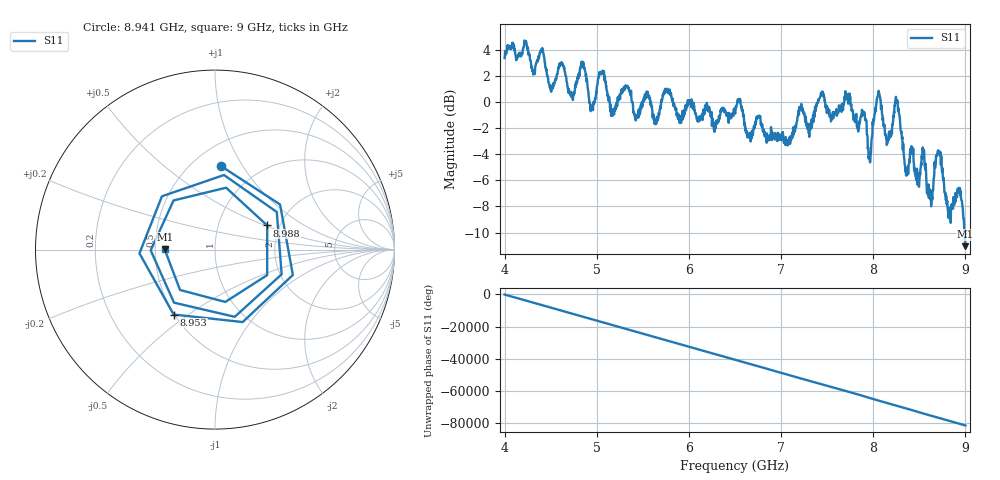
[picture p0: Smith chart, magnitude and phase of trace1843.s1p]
! Created with skrf 1.8.0 (http://scikit-rf.org).
# Hz S RI R 50.0
!freq ReS11 ImS11
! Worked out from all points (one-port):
!   1601 points, 4 GHz to 9 GHz, reference 50 ohm
!   lowest |S11| = -11.0 dB at 9 GHz (marker M1), VSWR 1.78, Z = 28.1 + j0.0818 ohm
!   |S11| at or under -10 dB: 8.991809 GHz to end of sweep
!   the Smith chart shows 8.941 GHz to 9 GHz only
!   S11 on the Smith chart (normalised r, x): 8.941 GHz: 0.68, +0.81; 8.953 GHz: 0.50, -0.44; 8.988 GHz: 1.72, +0.52; 9 GHz: 0.56, +0.00
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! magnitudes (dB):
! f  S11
! 4 GHz  3.3
! 4.403 GHz  3.8
! 4.509 GHz  0.9
! 4.625 GHz  3.0
! 4.731 GHz  0.5
! 4.853 GHz  3.0
! 4.944 GHz  -0.3
! 5.053 GHz  2.3
! 5.162 GHz  -0.8
! 5.25 GHz  0.5
! 5.875 GHz  -0.9
! 6.5 GHz  -0.9
! 7.125 GHz  -2.6
! 7.438 GHz  0.7
! 7.75 GHz  0.4
! 7.962 GHz  -4.5
! 8.056 GHz  0.8
! 8.153 GHz  -3.2
! 8.256 GHz  0.0
! 8.375 GHz  -5.0
! 8.544 GHz  -3.8
! 8.619 GHz  -6.8
! 8.706 GHz  -4.0
! 8.822 GHz  -8.4
! 8.941 GHz  -6.6
! 8.953 GHz  -7.4
! 8.988 GHz  -9.9
! 9 GHz  -11.0
